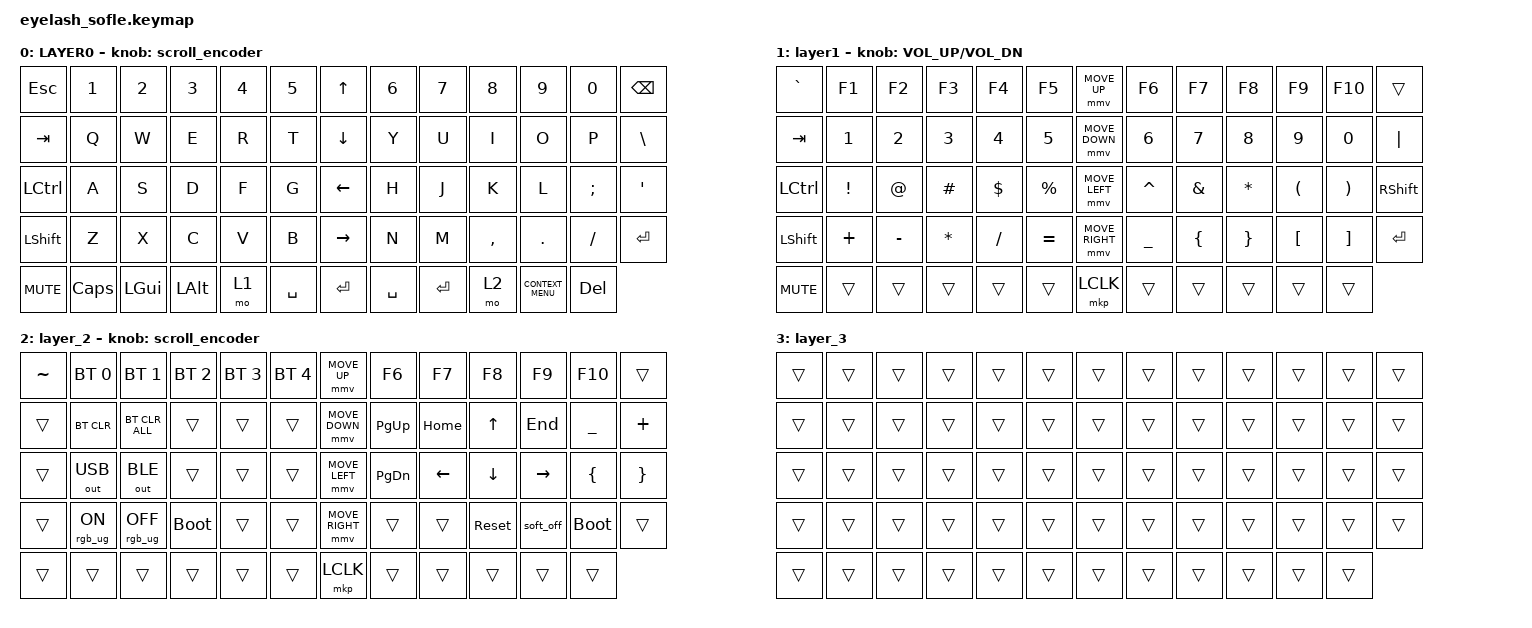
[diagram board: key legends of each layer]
#define ZMK_POINTING_DEFAULT_MOVE_VAL 1200  // 600
#define ZMK_POINTING_DEFAULT_SCRL_VAL 35    // 10

#include <input/processors.dtsi>
#include <zephyr/dt-bindings/input/input-event-codes.h>
#include <behaviors.dtsi>
#include <dt-bindings/zmk/bt.h>
#include <dt-bindings/zmk/keys.h>
#include <dt-bindings/zmk/outputs.h>
#include <dt-bindings/zmk/pointing.h>
#include <dt-bindings/zmk/rgb.h>

/ {
    zip_scroll_scaler: zip_scroll_scaler {
        compatible = "zmk,input-processor-scaler";
        #input-processor-cells = <2>;
        type = <INPUT_EV_REL>;
        codes = <INPUT_REL_WHEEL INPUT_REL_HWHEEL>;
        track-remainders;
    };
};

&mmv_input_listener { input-processors = <&zip_xy_scaler 2 1>; };

&msc_input_listener { input-processors = <&zip_scroll_scaler 2 1>; };

&msc {
    acceleration-exponent = <0>;      // 0
    time-to-max-speed-ms = <0>;       // 300
    delay-ms = <0>;                   // 0
};

&mmv {
    time-to-max-speed-ms = <400>;
    acceleration-exponent = <1>;
};

/ {
    scroll_encoder: scroll_encoder {
        compatible = "zmk,behavior-sensor-rotate";
        #sensor-binding-cells = <0>;
        bindings = <&msc SCRL_DOWN>, <&msc SCRL_UP>;

        tap-ms = <100>;
    };

    macros {
        shift_MB3: shift_MB3 {
            compatible = "zmk,behavior-macro";
            #binding-cells = <0>;
            bindings =
                <&macro_press>,
                <&kp LEFT_SHIFT>,
                <&macro_press>,
                <&mkp MB3>,
                <&macro_pause_for_release>,
                <&macro_release>,
                <&mkp MB3 &kp LEFT_SHIFT>;

            label = "SHIFT_MB3";
        };
    };

    behaviors {
    };

    keymap {
        compatible = "zmk,keymap";

        layer0 {
            bindings = <
&kp ESC     &kp N1    &kp N2        &kp N3        &kp N4  &kp N5       &kp UP_ARROW     &kp N6     &kp N7     &kp N8     &kp N9              &kp N0      &kp BACKSPACE
&kp TAB     &kp Q     &kp W         &kp E         &kp R   &kp T        &kp DOWN_ARROW   &kp Y      &kp U      &kp I      &kp O               &kp P       &kp BSLH
&kp LCTRL   &kp A     &kp S         &kp D         &kp F   &kp G        &kp LEFT_ARROW   &kp H      &kp J      &kp K      &kp L               &kp SEMI    &kp APOS
&kp LSHFT   &kp Z     &kp X         &kp C         &kp V   &kp B        &kp RIGHT_ARROW  &kp N      &kp M      &kp COMMA  &kp DOT             &kp FSLH    &kp ENTER
&kp C_MUTE  &kp CLCK  &kp LEFT_GUI  &kp LEFT_ALT  &mo 1   &kp SPACE    &kp ENTER        &kp SPACE  &kp ENTER  &mo 2      &kp K_CONTEXT_MENU  &kp DELETE
            >;

            sensor-bindings = <&scroll_encoder>;
            display-name = "LAYER0";
        };

        layer_1 {
            bindings = <
&kp GRAVE       &kp F1           &kp F2       &kp F3        &kp F4      &kp F5         &mmv MOVE_UP     &kp F6          &kp F7          &kp F8           &kp F9                &kp F10                &trans
&kp TAB         &kp N1           &kp N2       &kp N3        &kp N4      &kp N5         &mmv MOVE_DOWN   &kp N6          &kp NUMBER_7    &kp NUMBER_8     &kp NUMBER_9          &kp N0                 &kp PIPE
&kp LCTRL       &kp EXCLAMATION  &kp AT_SIGN  &kp HASH      &kp DOLLAR  &kp PERCENT    &mmv MOVE_LEFT   &kp CARET       &kp AMPERSAND   &kp ASTERISK     &kp LEFT_PARENTHESIS  &kp RIGHT_PARENTHESIS  &kp RIGHT_SHIFT
&kp LEFT_SHIFT  &kp PLUS         &kp MINUS    &kp ASTERISK  &kp SLASH   &kp EQUAL      &mmv MOVE_RIGHT  &kp UNDERSCORE  &kp LEFT_BRACE  &kp RIGHT_BRACE  &kp LEFT_BRACKET      &kp RIGHT_BRACKET      &kp ENTER
&kp C_MUTE      &trans           &trans       &trans        &trans      &trans         &mkp LCLK        &trans          &trans          &trans           &trans                &trans
            >;

            display-name = "layer1";
            sensor-bindings = <&inc_dec_kp C_VOLUME_UP C_VOL_DN>;
        };

        layer_2 {
            bindings = <
&kp TILDE  &bt BT_SEL 0    &bt BT_SEL 1     &bt BT_SEL 2  &bt BT_SEL 3  &bt BT_SEL 4    &mmv MOVE_UP     &kp F6         &kp F7          &kp F8        &kp F9           &kp F10      &trans
&trans     &bt BT_CLR      &bt BT_CLR_ALL   &trans        &trans        &trans          &mmv MOVE_DOWN   &kp PAGE_UP    &kp HOME        &kp UP_ARROW  &kp END          &kp UNDER    &kp PLUS
&trans     &out OUT_USB    &out OUT_BLE     &trans        &trans        &trans          &mmv MOVE_LEFT   &kp PAGE_DOWN  &kp LEFT_ARROW  &kp DOWN      &kp RIGHT_ARROW  &kp LBRC     &kp RBRC
&trans     &rgb_ug RGB_ON  &rgb_ug RGB_OFF  &bootloader   &trans        &trans          &mmv MOVE_RIGHT  &trans         &trans          &sys_reset    &soft_off        &bootloader  &trans
&trans     &trans          &trans           &trans        &trans        &trans          &mkp LCLK        &trans         &trans          &trans        &trans           &trans
            >;

            sensor-bindings = <&scroll_encoder>;
        };

        layer_3 {
            bindings = <
&trans  &trans  &trans  &trans  &trans  &trans    &trans  &trans  &trans  &trans  &trans  &trans  &trans
&trans  &trans  &trans  &trans  &trans  &trans    &trans  &trans  &trans  &trans  &trans  &trans  &trans
&trans  &trans  &trans  &trans  &trans  &trans    &trans  &trans  &trans  &trans  &trans  &trans  &trans
&trans  &trans  &trans  &trans  &trans  &trans    &trans  &trans  &trans  &trans  &trans  &trans  &trans
&trans  &trans  &trans  &trans  &trans  &trans    &trans  &trans  &trans  &trans  &trans  &trans
            >;
        };
    };
};
